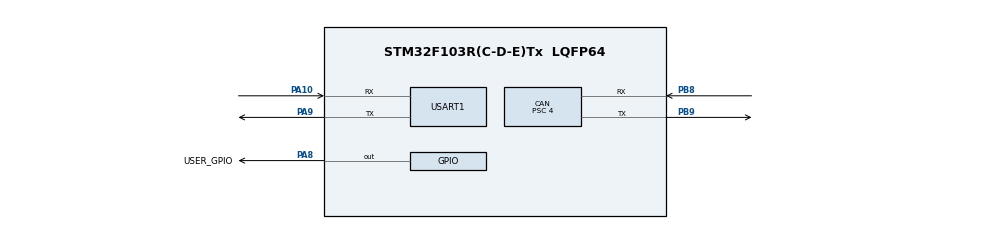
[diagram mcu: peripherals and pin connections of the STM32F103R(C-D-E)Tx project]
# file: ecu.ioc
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CAN.BS1=CAN_BS1_13TQ
CAN.BS2=CAN_BS2_2TQ
CAN.CalculateBaudRate=125000
CAN.CalculateTimeBit=8000
CAN.CalculateTimeQuantum=500.0
CAN.Prescaler=4
Mcu.Family=STM32F1
Mcu.Name=STM32F103R(C-D-E)Tx
Mcu.Package=LQFP64
NVIC.PriorityGroup=NVIC_PRIORITYGROUP_4
NVIC.USB_LP_CAN1_RX0_IRQn=true\:0\:0\:false\:false\:true\:true\:true\:true
PA10.Mode=Asynchronous
PA10.Signal=USART1_RX
PA13.Mode=Serial_Wire
PA13.Signal=SYS_JTMS-SWDIO
PA14.Mode=Serial_Wire
PA14.Signal=SYS_JTCK-SWCLK
PA8.GPIO_Label=USER_GPIO
PA8.Signal=GPIO_Output
PA9.Mode=Asynchronous
PA9.Signal=USART1_TX
PB8.Mode=CAN_Activate
PB8.Signal=CAN_RX
PB9.Mode=CAN_Activate
PB9.Signal=CAN_TX
PC14-OSC32_IN.Mode=LSE-External-Oscillator
PC14-OSC32_IN.Signal=RCC_OSC32_IN
PC15-OSC32_OUT.Mode=LSE-External-Oscillator
PC15-OSC32_OUT.Signal=RCC_OSC32_OUT
ProjectManager.HeapSize=0x200
ProjectManager.StackSize=0x400
ProjectManager.TargetToolchain=CMake
RCC.APB1Freq_Value=8000000
RCC.APB1TimFreq_Value=8000000
RCC.APB2Freq_Value=8000000
USART1.VirtualMode=VM_ASYNC
board=custom

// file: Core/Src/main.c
/* USER CODE BEGIN Header */
/**
 ******************************************************************************
 * @file           : main.c
 * @brief          : Main program body
 ******************************************************************************
 * @attention
 *
 * Copyright (c) 2024 STMicroelectronics.
 * All rights reserved.
 *
 * This software is licensed under terms that can be found in the LICENSE file
 * in the root directory of this software component.
 * If no LICENSE file comes with this software, it is provided AS-IS.
 *
 ******************************************************************************
 */
/* USER CODE END Header */
#include "main.h"
#include "can.h"
#include "gpio.h"
#include "stm32f1xx_hal_gpio.h"
#include "usart.h"

/* USER CODE BEGIN Includes */

#include <stdio.h>

/* USER CODE END Includes */

/* USER CODE BEGIN PD */

// Amount of time to keep trying to send a PTN_REQUEST message.
#define PTN_REQUEST_TIMEOUT_MS (1000)

// Amount of time to keep trying to send a PTN_RESET message.
#define PTN_RESET_TIMEOUT_MS (3000)

// Amount of time between consecutive PTN_RESET messages to different PTNs.
#define CONSECUTIVE_RESET_MSG_DELAY_MS (50)

#define UART_TIMEOUT_MS (200)

#define CAN_TX_TO_RX_DELAY_MS (1000)

// Amount of time between attempting consecutive PTN read.
#define PTN_READ_DELAY_MS (5000)

// WARNING: ensure this is between 5000ms (5s) and 15000ms (15s)
#define PTN_ON_TIMEOUT ((uint16_t)15000)

// Amount of time to poll for a CAN message response from a PTN.
#define PTN_RESPONSE_TIMEOUT_MS (PTN_ON_TIMEOUT + (uint16_t)2000)

/* USER CODE END PD */

void SystemClock_Config(void);
/* USER CODE BEGIN PFP */

void print_ecu_state(EcuState_e state);

/* USER CODE END PFP */

/* USER CODE BEGIN 0 */

const CAN_TxHeaderTypeDef req_header = {
    .StdId = PTN_REQUEST_ID,
    .ExtId = 0x0000,
    .IDE = CAN_ID_STD,
    .RTR = CAN_RTR_DATA,
    .DLC = CAN_MSG_FRAME_LEN_BYTES,
    .TransmitGlobalTime = DISABLE,
};

const CAN_TxHeaderTypeDef reset_header = {
    .StdId = PTN_RESET_ID,
    .ExtId = 0x0000,
    .IDE = CAN_ID_STD,
    .RTR = CAN_RTR_DATA,
    .DLC = CAN_MSG_FRAME_LEN_BYTES,
    .TransmitGlobalTime = DISABLE,
};

const uint8_t ptn_list[NUM_PTNS] = {0x1, 0x2};

/* USER CODE END 0 */

int main(void) {

  /* USER CODE BEGIN 1 */

  HAL_StatusTypeDef status = HAL_OK;
  EcuState_e ecu_state = ECU_RESET;

  AllPtnState_t all_ptns_state = {0};

  /* USER CODE END 1 */

  /* MCU Configuration--------------------------------------------------------*/

  /* Reset of all peripherals, Initializes the Flash interface and the Systick.
   */
  HAL_Init();

  /* Configure the system clock */
  SystemClock_Config();

  /* Initialize all configured peripherals */
  MX_GPIO_Init();
  MX_CAN_Init();
  MX_USART1_UART_Init();
  /* USER CODE BEGIN 2 */

  printf("log,info,ECU resetting!\r\n");

  // send the RESET message to the GUI
  printf("reset,reset,reset\r\n");

  // delay between the reset message and actually starting to send CAN messages
  // to PTNs
  HAL_Delay(5000);

  // send another RESET message to the GUI
  printf("reset,reset,reset\r\n");

  print_ecu_state(ecu_state);

  HAL_Delay(2500);

  setvbuf(stdout, NULL, _IONBF, 0);

  CAN_FilterTypeDef can_filter = {
      .FilterIdHigh = (uint32_t)(PTN_RESPONSE_ID << 5 | 0x0000),
      .FilterIdLow = 0,
      .FilterMaskIdHigh = 0,
      .FilterMaskIdLow = 0,
      .FilterFIFOAssignment = CAN_FILTER_FIFO0,
      .FilterBank = 0,
      .FilterMode = CAN_FILTERMODE_IDLIST,
      .FilterScale = CAN_FILTERSCALE_32BIT,
      .FilterActivation = CAN_FILTER_ENABLE,
      .SlaveStartFilterBank = 0,
  };

  status |= HAL_CAN_ConfigFilter(&hcan, &can_filter);
  status |= HAL_CAN_Start(&hcan);

  uint8_t can_tx_payload[CAN_MSG_FRAME_LEN_BYTES] = {0};
  uint8_t can_rx_payload[CAN_MSG_FRAME_LEN_BYTES] = {0};
  uint32_t mailbox = 0;
  CAN_RxHeaderTypeDef rx_header = {0};

  uint8_t uart_msg[256] = {0};

  ecu_state = ECU_AUTOLOCALIZATION;
  print_ecu_state(ecu_state);

  for (uint8_t idx = 0; idx < NUM_PTNS; idx++) {
    uint8_t cur_ptn_id = ptn_list[idx];

    printf("Attempting to send PTN_RESET CAN message (ID=0x%x) to PTN ID = "
           "0x%x...\r\n",
           reset_header.StdId, cur_ptn_id);

    status = HAL_CAN_AddTxMessagePolling(&hcan, &reset_header, can_tx_payload,
                                         &mailbox, PTN_RESET_TIMEOUT_MS);

    switch (status) {
    case HAL_OK: {
      printf("[PTN: 0x%x]: HAL_OK, successfully transmitted CAN message "
             "(ID=0x%x) to PTN ID = 0x%x\r\n",
             cur_ptn_id, reset_header.StdId, cur_ptn_id);
      break;
    }
    case HAL_TIMEOUT: {
      printf("[PTN: 0x%x]: status HAL_TIMEOUT (0x%x) returned when trying to "
             "send CAN message (ID=0x%x)!\r\n",
             cur_ptn_id, status, reset_header.StdId);
      break;
    }

    case HAL_ERROR: {
      printf("[PTN: 0x%x]: status HAL_ERROR (0x%x) returned when trying to "
             "send CAN message (ID=0x%x)!\r\n",
             cur_ptn_id, status, reset_header.StdId);
      break;
    }

    case HAL_BUSY: {
      printf("[PTN: 0x%x]: status HAL_BUSY (0x%x) returned when trying to "
             "send CAN message (ID=0x%x)!\r\n",
             cur_ptn_id, status, reset_header.StdId);
      break;
    }

    default: {
      printf("[PTN: 0x%x]: unexpected HAL status (0x%x) returned when trying "
             "to send CAN message (ID=0x%x)!\r\n",
             cur_ptn_id, status, reset_header.StdId);
      break;
    }
    }

    HAL_Delay(CONSECUTIVE_RESET_MSG_DELAY_MS);
  }

  printf("log,info,Finished initialization!\r\n");

  // On reset, ECU must:
  // 1) Send a RESET message to the PTNs
  // 2) Periodically send a request message.
  // 2) Wait for a timeout or a response message.
  // 3) If timeout move on.

  /* USER CODE END 2 */

  /* Infinite loop */
  while (1) {

    /* USER CODE BEGIN 3 */

    for (uint8_t idx = 0; idx < NUM_PTNS; idx++) {
      uint8_t cur_ptn_id = ptn_list[idx];

      printf("Attempting to send PTN_REQUEST CAN message (ID=0x%x) to PTN ID = "
             "0x%x...\r\n",
             req_header.StdId, cur_ptn_id);

      // byte 0 is the target PTN ID
      can_tx_payload[0] = cur_ptn_id;

      // byte 1 is left empty

      // byte 2-3 is the timeout value in milliseconds
      *((uint16_t *)(can_tx_payload) + 1) = PTN_ON_TIMEOUT;

      printf("[PTN: 0x%x] Setting the PTN with timeout = %d ms\r\n", cur_ptn_id, PTN_ON_TIMEOUT);

      // TODO: add a CAN Rx Fifo flush here

      status = HAL_CAN_AddTxMessagePolling(&hcan, &req_header, can_tx_payload,
                                           &mailbox, PTN_REQUEST_TIMEOUT_MS);

      // if the CAN message doesn't transmit correctly, continue to sending
      // message for next PTN...
      if (status == HAL_OK) {
        printf("[PTN: 0x%x] Successfully transmitted CAN message with ID = "
               "0x%x!\r\n",
               cur_ptn_id, req_header.StdId);
      } else if (status == HAL_TIMEOUT) {
        printf("[PTN: 0x%x] Failed to transmit CAN message with ID = 0x%x due "
               "to timeout!\r\n",
               cur_ptn_id, req_header.StdId);
        continue;
      } else {
        printf("[PTN: 0x%x] Failed to transmit CAN message with ID = 0x%x, "
               "HAL_STATUS = "
               "%d!\r\n",
               cur_ptn_id, req_header.StdId, status);
        continue;
      }

      printf("[PTN: 0x%x] Waiting to receive PTN_RESPONSE CAN message with "
             "ID=0x%x...\r\n",
             cur_ptn_id, PTN_RESPONSE_ID);

      // CAN message transmitted correctly so now poll for CAN message
      // reception

      // NOTE: we need to do this in a while loop since we may have gotten
      // a response message from another PTN
      uint32_t start_time = HAL_GetTick();
      do {
        status = HAL_CAN_GetRxMessagePolling(&hcan, CAN_RX_FIFO0, &rx_header,
                                             can_rx_payload,
                                             PTN_RESPONSE_TIMEOUT_MS);

        // check if the PTN ID in the payload matches the one we're expecting
        PtnResponseMsg_t *response = (PtnResponseMsg_t *)(can_rx_payload);
        printf("[PTN: 0x%x] Received PTN_RESPONSE CAN message (ID=0x%x) from "
               "PTN=0x%x\r\n",
               cur_ptn_id, PTN_RESPONSE_ID, response->ptn_id);
        if (response->ptn_id == cur_ptn_id) {
          break;
        }
      } while (HAL_GetTick() - start_time <= PTN_RESPONSE_TIMEOUT_MS);

      switch (status) {
      case HAL_OK: {
        // parse out the CAN message
        PtnResponseMsg_t *response = (PtnResponseMsg_t *)(can_rx_payload);

        printf("[PTN: 0x%x]: status HAL_OK, response: PRESSURE = %d, TEMP = "
               "%d, PTN_ID = 0x%x, SN_ID = 0x%x, STATUS_CODE = 0x%x, PAIRED = "
               "%d\r\n",
               cur_ptn_id, response->pressure, response->temp, response->ptn_id,
               response->sn_id, response->status_code, response->paired);
        printf("ptn,%d,%d,%d,%d,%d,%d\r\n", cur_ptn_id, response->sn_id,
               response->pressure, response->temp, response->status_code,
               response->paired);

        // put information in the PTN state struct so we can check if
        // auto-localization is complete or not
        all_ptns_state.ptn_states[idx].paired = response->paired;
        all_ptns_state.ptn_states[idx].status_code = response->status_code;
        break;
      }
      case HAL_TIMEOUT: {
        printf("[PTN: 0x%x]: status HAL_TIMEOUT (0x%x) returned when trying to "
               "receive CAN message!\r\n",
               cur_ptn_id, status);
        break;
      }

      case HAL_ERROR: {
        printf("[PTN: 0x%x]: status HAL_ERROR (0x%x) returned when trying to "
               "receive CAN message!\r\n",
               cur_ptn_id, status);
        break;
      }

      case HAL_BUSY: {
        printf("[PTN: 0x%x]: status HAL_BUSY (0x%x) returned when trying to "
               "receive CAN message!\r\n",
               cur_ptn_id, status);
        break;
      }

      default: {
        printf("[PTN: 0x%x]: unexpected HAL STATUS (0x%x) returned when trying "
               "to receive CAN message!\r\n",
               cur_ptn_id, status);
      }
      }

      // check whether both tires are paired or not
      // if they are paired, autolocalization is complete...
      if (all_ptns_state.ptn_states[0].paired &&
          all_ptns_state.ptn_states[1].paired) {
        ecu_state = ECU_NORMAL_OPERATION;
        print_ecu_state(ecu_state);
      }

      HAL_Delay(PTN_READ_DELAY_MS);
    }
  }

  /* USER CODE END 3 */
}

void SystemClock_Config(void) {
  RCC_OscInitTypeDef RCC_OscInitStruct = {0};
  RCC_ClkInitTypeDef RCC_ClkInitStruct = {0};

  /** Initializes the RCC Oscillators according to the specified parameters
   * in the RCC_OscInitTypeDef structure.
   */
  RCC_OscInitStruct.OscillatorType = RCC_OSCILLATORTYPE_HSI;
  RCC_OscInitStruct.HSIState = RCC_HSI_ON;
  RCC_OscInitStruct.HSICalibrationValue = RCC_HSICALIBRATION_DEFAULT;
  RCC_OscInitStruct.PLL.PLLState = RCC_PLL_NONE;
  if (HAL_RCC_OscConfig(&RCC_OscInitStruct) != HAL_OK) {
    Error_Handler();
  }

  /** Initializes the CPU, AHB and APB buses clocks
   */
  RCC_ClkInitStruct.ClockType = RCC_CLOCKTYPE_HCLK | RCC_CLOCKTYPE_SYSCLK |
                                RCC_CLOCKTYPE_PCLK1 | RCC_CLOCKTYPE_PCLK2;
  RCC_ClkInitStruct.SYSCLKSource = RCC_SYSCLKSOURCE_HSI;
  RCC_ClkInitStruct.AHBCLKDivider = RCC_SYSCLK_DIV1;
  RCC_ClkInitStruct.APB1CLKDivider = RCC_HCLK_DIV1;
  RCC_ClkInitStruct.APB2CLKDivider = RCC_HCLK_DIV1;

  if (HAL_RCC_ClockConfig(&RCC_ClkInitStruct, FLASH_LATENCY_0) != HAL_OK) {
    Error_Handler();
  }
}

/* USER CODE BEGIN 4 */

void print_ecu_state(EcuState_e state) { printf("ecu,%d,null\r\n", state); }

#ifdef __GNUC__
/* With GCC, small printf (option LD Linker->Libraries->Small printf
   set to 'Yes') calls __io_putchar() */
int __io_putchar(int ch)
#else
int fputc(int ch, FILE *f)
#endif /* __GNUC__ */
{
  /* Place your implementation of fputc here */
  /* e.g. write a character to the UART3 and Loop until the end of transmission
   */
  HAL_UART_Transmit(&huart1, (uint8_t *)&ch, 1, HAL_MAX_DELAY);
  return ch;
}

/* USER CODE END 4 */

void Error_Handler(void) {
  /* USER CODE BEGIN Error_Handler_Debug */
  /* User can add his own implementation to report the HAL error return state
   */
  __disable_irq();
  while (1) {
  }
  /* USER CODE END Error_Handler_Debug */
}

#ifdef USE_FULL_ASSERT
/**
 * @brief  Reports the name of the source file and the source line number
 *         where the assert_param error has occurred.
 * @param  file: pointer to the source file name
 * @param  line: assert_param error line source number
 * @retval None
 */
void assert_failed(uint8_t *file, uint32_t line) {
  /* USER CODE BEGIN 6 */
  /* User can add his own implementation to report the file name and line
  number,
  /* USER CODE END 6 */
}
#endif /* USE_FULL_ASSERT */
